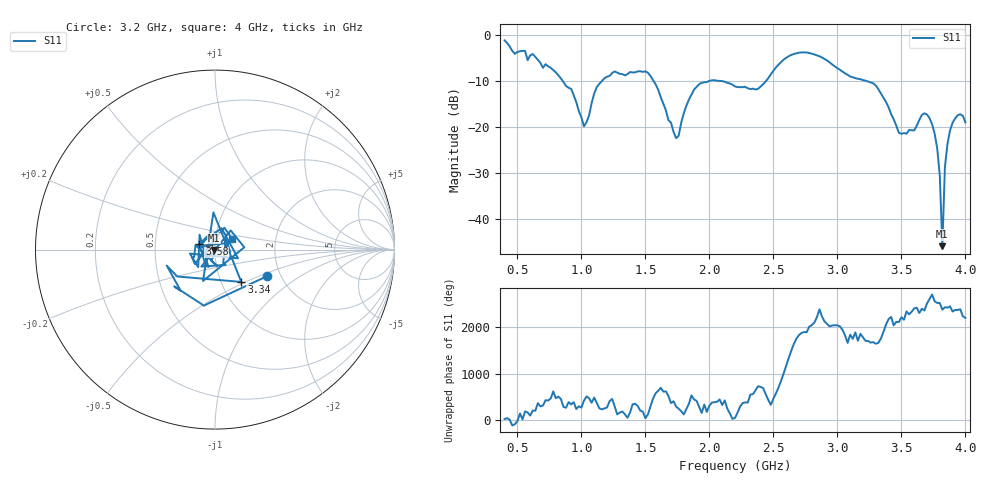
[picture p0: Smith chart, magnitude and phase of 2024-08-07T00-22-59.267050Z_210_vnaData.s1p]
!Created with skrf (http://scikit-rf.org).
# Hz S RI R 50.0
!freq ReS11 ImS11
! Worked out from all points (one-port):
!   181 points, 400 MHz to 4 GHz, reference 50 ohm
!   lowest |S11| = -45.9 dB at 3.82 GHz (marker M1), VSWR 1.01, Z = 49.5 - j0.22 ohm
!   |S11| at or under -10 dB: 1.565 GHz to 1.996 GHz (431.7 MHz wide, 24.2 % of centre); 2.098 GHz to 2.442 GHz (343.4 MHz wide, 15.1 % of centre); 3.229 GHz to end of sweep (the widest 3 of 4)
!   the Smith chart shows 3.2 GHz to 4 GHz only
!   S11 on the Smith chart (normalised r, x): 3.2 GHz: 1.69, -0.56; 3.34 GHz: 1.24, -0.47; 3.58 GHz: 0.84, +0.05; 4 GHz: 1.20, +0.14
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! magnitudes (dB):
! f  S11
! 400 MHz  -1.2
! 860 MHz  -10.2
! 920 MHz  -11.7
! 1.02 GHz  -19.8
! 1.12 GHz  -11.3
! 1.3 GHz  -8.4
! 1.52 GHz  -8.2
! 1.76 GHz  -21.9
! 1.82 GHz  -15.4
! 1.92 GHz  -10.7
! 2.2 GHz  -11.2
! 2.38 GHz  -11.7
! 2.66 GHz  -4.1
! 2.86 GHz  -4.6
! 3.1 GHz  -9.0
! 3.2 GHz  -9.8
! 3.34 GHz  -12.7
! 3.48 GHz  -21.2
! 3.56 GHz  -20.6
! 3.58 GHz  -20.7
! 3.68 GHz  -17.0
! 3.76 GHz  -21.5
! 3.8 GHz  -30.6
! 3.82 GHz  -45.9
! 3.84 GHz  -28.7
! 3.86 GHz  -23.7
! 3.94 GHz  -17.4
! 4 GHz  -19.0
